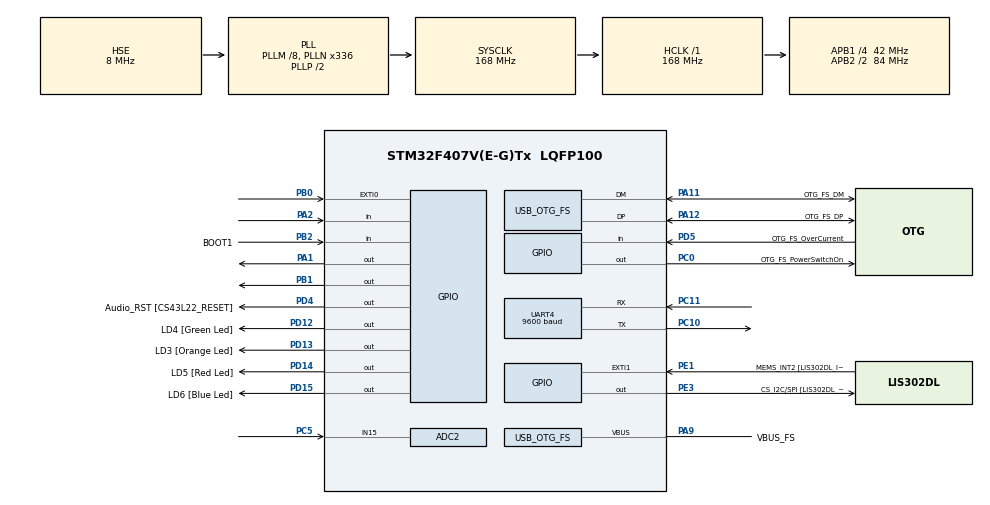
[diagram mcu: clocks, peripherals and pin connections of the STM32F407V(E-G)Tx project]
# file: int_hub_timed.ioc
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ADC2.Channel-0\#ChannelRegularConversion=ADC_CHANNEL_15
ADC2.NbrOfConversionFlag=1
ADC2.Rank-0\#ChannelRegularConversion=1
ADC2.SamplingTime-0\#ChannelRegularConversion=ADC_SAMPLETIME_3CYCLES
Mcu.Family=STM32F4
Mcu.Name=STM32F407V(E-G)Tx
Mcu.Package=LQFP100
NVIC.EXTI0_IRQn=true\:0\:0\:false\:false\:true\:true\:true
NVIC.OTG_FS_IRQn=true\:0\:0\:false\:false\:true\:true\:true
NVIC.PriorityGroup=NVIC_PRIORITYGROUP_0
NVIC.TIM2_IRQn=true\:0\:0\:false\:false\:true\:true\:true
NVIC.TIM3_IRQn=true\:0\:0\:false\:false\:true\:true\:true
NVIC.TIM4_IRQn=true\:0\:0\:false\:false\:true\:true\:true
PA1.Signal=GPIO_Output
PA10.GPIO_Label=OTG_FS_ID
PA10.GPIO_Mode=GPIO_MODE_AF_PP
PA10.GPIO_PuPd=GPIO_NOPULL
PA10.GPIO_Speed=GPIO_SPEED_FREQ_LOW
PA10.Signal=USB_OTG_FS_ID
PA11.GPIO_Label=OTG_FS_DM
PA11.GPIO_Mode=GPIO_MODE_AF_PP
PA11.GPIO_PuPd=GPIO_NOPULL
PA11.GPIO_Speed=GPIO_SPEED_FREQ_LOW
PA11.Mode=Host_Only
PA11.Signal=USB_OTG_FS_DM
PA12.GPIO_Label=OTG_FS_DP
PA12.GPIO_Mode=GPIO_MODE_AF_PP
PA12.GPIO_PuPd=GPIO_NOPULL
PA12.GPIO_Speed=GPIO_SPEED_FREQ_LOW
PA12.Mode=Host_Only
PA12.Signal=USB_OTG_FS_DP
PA13.GPIO_Label=SWDIO
PA13.Mode=Serial_Wire
PA13.Signal=SYS_JTMS-SWDIO
PA14.GPIO_Label=SWCLK
PA14.Mode=Serial_Wire
PA14.Signal=SYS_JTCK-SWCLK
PA2.Signal=GPIO_Input
PA9.GPIO_Label=VBUS_FS
PA9.GPIO_Mode=GPIO_MODE_INPUT
PA9.GPIO_PuPd=GPIO_NOPULL
PA9.Mode=Activate_VBUS
PA9.Signal=USB_OTG_FS_VBUS
PB0.Signal=GPXTI0
PB1.Signal=GPIO_Output
PB2.GPIO_Label=BOOT1
PB2.GPIO_Mode=GPIO_MODE_INPUT
PB2.GPIO_PuPd=GPIO_NOPULL
PB2.Signal=GPIO_Input
PC0.GPIO_Label=OTG_FS_PowerSwitchOn
PC0.GPIO_PuPd=GPIO_NOPULL
PC0.GPIO_Speed=GPIO_SPEED_FREQ_LOW
PC0.PinState=GPIO_PIN_SET
PC0.Signal=GPIO_Output
PC10.Mode=Asynchronous
PC10.Signal=UART4_TX
PC11.Mode=Asynchronous
PC11.Signal=UART4_RX
PC14-OSC32_IN.GPIO_Label=PC14-OSC32_IN
PC14-OSC32_IN.Mode=LSE-External-Oscillator
PC14-OSC32_IN.Signal=RCC_OSC32_IN
PC15-OSC32_OUT.GPIO_Label=PC15-OSC32_OUT
PC15-OSC32_OUT.Mode=LSE-External-Oscillator
PC15-OSC32_OUT.Signal=RCC_OSC32_OUT
PC5.Signal=SharedAnalog_PC5
PD12.GPIO_Label=LD4 [Green Led]
PD12.GPIO_PuPd=GPIO_NOPULL
PD12.GPIO_Speed=GPIO_SPEED_FREQ_LOW
PD12.Signal=GPIO_Output
PD13.GPIO_Label=LD3 [Orange Led]
PD13.GPIO_PuPd=GPIO_NOPULL
PD13.GPIO_Speed=GPIO_SPEED_FREQ_LOW
PD13.Signal=GPIO_Output
PD14.GPIO_Label=LD5 [Red Led]
PD14.GPIO_PuPd=GPIO_NOPULL
PD14.GPIO_Speed=GPIO_SPEED_FREQ_LOW
PD14.Signal=GPIO_Output
PD15.GPIO_Label=LD6 [Blue Led]
PD15.GPIO_PuPd=GPIO_NOPULL
PD15.GPIO_Speed=GPIO_SPEED_FREQ_LOW
PD15.Signal=GPIO_Output
PD4.GPIO_Label=Audio_RST [CS43L22_RESET]
PD4.GPIO_PuPd=GPIO_NOPULL
PD4.GPIO_Speed=GPIO_SPEED_FREQ_LOW
PD4.Signal=GPIO_Output
PD5.GPIO_Label=OTG_FS_OverCurrent
PD5.GPIO_Mode=GPIO_MODE_INPUT
PD5.GPIO_PuPd=GPIO_NOPULL
PD5.Signal=GPIO_Input
PE1.GPIO_Label=MEMS_INT2 [LIS302DL_INT2]
PE1.GPIO_ModeDefaultEXTI=GPIO_MODE_EVT_RISING
PE1.GPIO_PuPd=GPIO_NOPULL
PE1.Signal=GPXTI1
PE3.GPIO_Label=CS_I2C/SPI [LIS302DL_CS_I2C/SPI]
PE3.GPIO_PuPd=GPIO_NOPULL
PE3.GPIO_Speed=GPIO_SPEED_FREQ_LOW
PE3.Signal=GPIO_Output
PH0-OSC_IN.GPIO_Label=PH0-OSC_IN
PH0-OSC_IN.Mode=HSE-External-Oscillator
PH0-OSC_IN.Signal=RCC_OSC_IN
PH1-OSC_OUT.GPIO_Label=PH1-OSC_OUT
PH1-OSC_OUT.Mode=HSE-External-Oscillator
PH1-OSC_OUT.Signal=RCC_OSC_OUT
ProjectManager.HeapSize=0x200
ProjectManager.StackSize=0x400
ProjectManager.TargetToolchain=Makefile
RCC.48MHZClocksFreq_Value=48000000
RCC.AHBFreq_Value=168000000
RCC.APB1CLKDivider=RCC_HCLK_DIV4
RCC.APB1Freq_Value=42000000
RCC.APB1TimFreq_Value=84000000
RCC.APB2CLKDivider=RCC_HCLK_DIV2
RCC.APB2Freq_Value=84000000
RCC.APB2TimFreq_Value=168000000
RCC.CortexFreq_Value=168000000
RCC.HCLKFreq_Value=168000000
RCC.HSE_VALUE=8000000
RCC.HSI_VALUE=16000000
RCC.PLLM=8
RCC.PLLN=336
RCC.PLLQ=7
RCC.SYSCLKFreq_VALUE=168000000
RCC.SYSCLKSource=RCC_SYSCLKSOURCE_PLLCLK
RCC.VCOOutputFreq_Value=336000000
SH.SharedAnalog_PC5.0=GPIO_Analog
SH.SharedAnalog_PC5.1=ADC2_IN15,IN15
TIM2.AutoReloadPreload=TIM_AUTORELOAD_PRELOAD_ENABLE
TIM2.Period=4000-1
TIM2.Prescaler=42000-1
TIM3.AutoReloadPreload=TIM_AUTORELOAD_PRELOAD_ENABLE
TIM3.Period=2000-1
TIM3.Prescaler=42000-1
TIM4.AutoReloadPreload=TIM_AUTORELOAD_PRELOAD_ENABLE
TIM4.Period=2000-1
TIM4.Prescaler=42000-1
UART4.BaudRate=9600
UART4.VirtualMode=Asynchronous
USB_HOST.BSP.number=1
USB_HOST.USBH_HandleTypeDef-CDC_FS=hUsbHostFS
USB_HOST.VirtualModeFS=Cdc
USB_HOST0.BSP.STBoard=false
USB_HOST0.BSP.api=Unknown
USB_HOST0.BSP.i2caddr=0
USB_HOST0.BSP.i2creg=0
USB_HOST0.BSP.instance=PC0
USB_HOST0.BSP.ip=GPIO
USB_HOST0.BSP.mode=Output
USB_HOST0.BSP.name=Drive_VBUS_FS
USB_HOST0.BSP.solution=PC0
USB_OTG_FS.VirtualMode=Host_Only
USB_OTG_FS.phy_itface=HCD_PHY_EMBEDDED
VP_RTC_VS_RTC_Activate.Mode=RTC_Enabled
VP_TIM2_VS_ClockSourceINT.Mode=Internal
VP_TIM3_VS_ClockSourceINT.Mode=Internal
VP_TIM4_VS_ClockSourceINT.Mode=Internal
VP_USB_HOST_VS_USB_HOST_CDC_FS.Mode=CDC_FS
board=STM32F407G-DISC1

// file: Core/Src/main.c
/* USER CODE BEGIN Header */
/**
  ******************************************************************************
  * @file           : main.c
  * @brief          : Main program body
  * @author         : Morgan McCandless
  ******************************************************************************
  * @attention
  *
  * <h2><center>&copy; Copyright (c) 2021 STMicroelectronics.
  * All rights reserved.</center></h2>
  *
  * This software component is licensed by ST under Ultimate Liberty license
  * SLA0044, the "License"; You may not use this file except in compliance with
  * the License. You may obtain a copy of the License at:
  *                             www.st.com/SLA0044
  *
  ******************************************************************************
  */
/* USER CODE END Header */
#include "main.h"
#include "usb_host.h"

/* USER CODE BEGIN Includes */
#include <stdio.h>
#include <string.h>

/* USER CODE END Includes */

ADC_HandleTypeDef hadc2;

RTC_HandleTypeDef hrtc;

TIM_HandleTypeDef htim2;
TIM_HandleTypeDef htim3;
TIM_HandleTypeDef htim4;

UART_HandleTypeDef huart4;

/* USER CODE BEGIN PV */
uint16_t envelope;
uint8_t envelope_array[50];

/* USER CODE END PV */

void SystemClock_Config(void);
static void MX_GPIO_Init(void);
static void MX_ADC2_Init(void);
static void MX_RTC_Init(void);
static void MX_TIM2_Init(void);
static void MX_TIM3_Init(void);
static void MX_TIM4_Init(void);
static void MX_UART4_Init(void);
void MX_USB_HOST_Process(void);

int main(void)
{

  /* MCU Configuration--------------------------------------------------------*/

  /* Reset of all peripherals, Initializes the Flash interface and the Systick. */
  HAL_Init();

  /* Configure the system clock */
  SystemClock_Config();

  /* Initialize all configured peripherals */
  MX_GPIO_Init();
  MX_ADC2_Init();
  MX_RTC_Init();
  MX_TIM2_Init();
  MX_TIM3_Init();
  MX_TIM4_Init();
  MX_UART4_Init();
  MX_USB_HOST_Init();
  /* USER CODE BEGIN 2 */
  int released = 0;
  HAL_TIM_Base_Start_IT(&htim3);
  HAL_TIM_Base_Start_IT(&htim4);

  /* USER CODE END 2 */

  /* Infinite loop */
  while (1)
  {
    MX_USB_HOST_Process();

    /* USER CODE BEGIN 3 */
    // Door sensor
    if (!HAL_GPIO_ReadPin(GPIOA, GPIO_PIN_2) && !released) {
	    released = 1;
	    HAL_TIM_Base_Start_IT(&htim2);
    } else if (HAL_GPIO_ReadPin(GPIOA, GPIO_PIN_2) && released) {
	    HAL_TIM_Base_Stop_IT(&htim2);
	    TIM2->CNT = 0;
	    released = 0;
	    HAL_GPIO_WritePin(GPIOA, GPIO_PIN_1, GPIO_PIN_RESET);
    }

    // sound sensor
    if (!HAL_GPIO_ReadPin(GPIOB, GPIO_PIN_0)) {
	    HAL_GPIO_WritePin(GPIOB, GPIO_PIN_1, GPIO_PIN_RESET);
    }
    sprintf(envelope_array, "%d", envelope);

  }
  /* USER CODE END 3 */
}

void SystemClock_Config(void)
{
  RCC_OscInitTypeDef RCC_OscInitStruct = {0};
  RCC_ClkInitTypeDef RCC_ClkInitStruct = {0};
  RCC_PeriphCLKInitTypeDef PeriphClkInitStruct = {0};

  /** Configure the main internal regulator output voltage
  */
  __HAL_RCC_PWR_CLK_ENABLE();
  __HAL_PWR_VOLTAGESCALING_CONFIG(PWR_REGULATOR_VOLTAGE_SCALE1);
  /** Initializes the RCC Oscillators according to the specified parameters
  * in the RCC_OscInitTypeDef structure.
  */
  RCC_OscInitStruct.OscillatorType = RCC_OSCILLATORTYPE_LSI|RCC_OSCILLATORTYPE_HSE;
  RCC_OscInitStruct.HSEState = RCC_HSE_ON;
  RCC_OscInitStruct.LSIState = RCC_LSI_ON;
  RCC_OscInitStruct.PLL.PLLState = RCC_PLL_ON;
  RCC_OscInitStruct.PLL.PLLSource = RCC_PLLSOURCE_HSE;
  RCC_OscInitStruct.PLL.PLLM = 8;
  RCC_OscInitStruct.PLL.PLLN = 336;
  RCC_OscInitStruct.PLL.PLLP = RCC_PLLP_DIV2;
  RCC_OscInitStruct.PLL.PLLQ = 7;
  if (HAL_RCC_OscConfig(&RCC_OscInitStruct) != HAL_OK)
  {
    Error_Handler();
  }
  /** Initializes the CPU, AHB and APB buses clocks
  */
  RCC_ClkInitStruct.ClockType = RCC_CLOCKTYPE_HCLK|RCC_CLOCKTYPE_SYSCLK
                              |RCC_CLOCKTYPE_PCLK1|RCC_CLOCKTYPE_PCLK2;
  RCC_ClkInitStruct.SYSCLKSource = RCC_SYSCLKSOURCE_PLLCLK;
  RCC_ClkInitStruct.AHBCLKDivider = RCC_SYSCLK_DIV1;
  RCC_ClkInitStruct.APB1CLKDivider = RCC_HCLK_DIV4;
  RCC_ClkInitStruct.APB2CLKDivider = RCC_HCLK_DIV2;

  if (HAL_RCC_ClockConfig(&RCC_ClkInitStruct, FLASH_LATENCY_5) != HAL_OK)
  {
    Error_Handler();
  }
  PeriphClkInitStruct.PeriphClockSelection = RCC_PERIPHCLK_RTC;
  PeriphClkInitStruct.RTCClockSelection = RCC_RTCCLKSOURCE_LSI;
  if (HAL_RCCEx_PeriphCLKConfig(&PeriphClkInitStruct) != HAL_OK)
  {
    Error_Handler();
  }
}

static void MX_ADC2_Init(void)
{

  ADC_ChannelConfTypeDef sConfig = {0};

  /** Configure the global features of the ADC (Clock, Resolution, Data Alignment and number of conversion)
  */
  hadc2.Instance = ADC2;
  hadc2.Init.ClockPrescaler = ADC_CLOCK_SYNC_PCLK_DIV4;
  hadc2.Init.Resolution = ADC_RESOLUTION_12B;
  hadc2.Init.ScanConvMode = DISABLE;
  hadc2.Init.ContinuousConvMode = DISABLE;
  hadc2.Init.DiscontinuousConvMode = DISABLE;
  hadc2.Init.ExternalTrigConvEdge = ADC_EXTERNALTRIGCONVEDGE_NONE;
  hadc2.Init.ExternalTrigConv = ADC_SOFTWARE_START;
  hadc2.Init.DataAlign = ADC_DATAALIGN_RIGHT;
  hadc2.Init.NbrOfConversion = 1;
  hadc2.Init.DMAContinuousRequests = DISABLE;
  hadc2.Init.EOCSelection = ADC_EOC_SINGLE_CONV;
  if (HAL_ADC_Init(&hadc2) != HAL_OK)
  {
    Error_Handler();
  }
  /** Configure for the selected ADC regular channel its corresponding rank in the sequencer and its sample time.
  */
  sConfig.Channel = ADC_CHANNEL_15;
  sConfig.Rank = 1;
  sConfig.SamplingTime = ADC_SAMPLETIME_3CYCLES;
  if (HAL_ADC_ConfigChannel(&hadc2, &sConfig) != HAL_OK)
  {
    Error_Handler();
  }

}

static void MX_RTC_Init(void)
{

  /** Initialize RTC Only
  */
  hrtc.Instance = RTC;
  hrtc.Init.HourFormat = RTC_HOURFORMAT_24;
  hrtc.Init.AsynchPrediv = 127;
  hrtc.Init.SynchPrediv = 255;
  hrtc.Init.OutPut = RTC_OUTPUT_DISABLE;
  hrtc.Init.OutPutPolarity = RTC_OUTPUT_POLARITY_HIGH;
  hrtc.Init.OutPutType = RTC_OUTPUT_TYPE_OPENDRAIN;
  if (HAL_RTC_Init(&hrtc) != HAL_OK)
  {
    Error_Handler();
  }

}

static void MX_TIM2_Init(void)
{

  TIM_ClockConfigTypeDef sClockSourceConfig = {0};
  TIM_MasterConfigTypeDef sMasterConfig = {0};

  htim2.Instance = TIM2;
  htim2.Init.Prescaler = 42000-1;
  htim2.Init.CounterMode = TIM_COUNTERMODE_UP;
  htim2.Init.Period = 4000-1;
  htim2.Init.ClockDivision = TIM_CLOCKDIVISION_DIV1;
  htim2.Init.AutoReloadPreload = TIM_AUTORELOAD_PRELOAD_ENABLE;
  if (HAL_TIM_Base_Init(&htim2) != HAL_OK)
  {
    Error_Handler();
  }
  sClockSourceConfig.ClockSource = TIM_CLOCKSOURCE_INTERNAL;
  if (HAL_TIM_ConfigClockSource(&htim2, &sClockSourceConfig) != HAL_OK)
  {
    Error_Handler();
  }
  sMasterConfig.MasterOutputTrigger = TIM_TRGO_RESET;
  sMasterConfig.MasterSlaveMode = TIM_MASTERSLAVEMODE_DISABLE;
  if (HAL_TIMEx_MasterConfigSynchronization(&htim2, &sMasterConfig) != HAL_OK)
  {
    Error_Handler();
  }

}

static void MX_TIM3_Init(void)
{

  TIM_ClockConfigTypeDef sClockSourceConfig = {0};
  TIM_MasterConfigTypeDef sMasterConfig = {0};

  htim3.Instance = TIM3;
  htim3.Init.Prescaler = 42000-1;
  htim3.Init.CounterMode = TIM_COUNTERMODE_UP;
  htim3.Init.Period = 2000-1;
  htim3.Init.ClockDivision = TIM_CLOCKDIVISION_DIV1;
  htim3.Init.AutoReloadPreload = TIM_AUTORELOAD_PRELOAD_ENABLE;
  if (HAL_TIM_Base_Init(&htim3) != HAL_OK)
  {
    Error_Handler();
  }
  sClockSourceConfig.ClockSource = TIM_CLOCKSOURCE_INTERNAL;
  if (HAL_TIM_ConfigClockSource(&htim3, &sClockSourceConfig) != HAL_OK)
  {
    Error_Handler();
  }
  sMasterConfig.MasterOutputTrigger = TIM_TRGO_RESET;
  sMasterConfig.MasterSlaveMode = TIM_MASTERSLAVEMODE_DISABLE;
  if (HAL_TIMEx_MasterConfigSynchronization(&htim3, &sMasterConfig) != HAL_OK)
  {
    Error_Handler();
  }

}

static void MX_TIM4_Init(void)
{

  TIM_ClockConfigTypeDef sClockSourceConfig = {0};
  TIM_MasterConfigTypeDef sMasterConfig = {0};

  htim4.Instance = TIM4;
  htim4.Init.Prescaler = 42000-1;
  htim4.Init.CounterMode = TIM_COUNTERMODE_UP;
  htim4.Init.Period = 2000-1;
  htim4.Init.ClockDivision = TIM_CLOCKDIVISION_DIV1;
  htim4.Init.AutoReloadPreload = TIM_AUTORELOAD_PRELOAD_ENABLE;
  if (HAL_TIM_Base_Init(&htim4) != HAL_OK)
  {
    Error_Handler();
  }
  sClockSourceConfig.ClockSource = TIM_CLOCKSOURCE_INTERNAL;
  if (HAL_TIM_ConfigClockSource(&htim4, &sClockSourceConfig) != HAL_OK)
  {
    Error_Handler();
  }
  sMasterConfig.MasterOutputTrigger = TIM_TRGO_RESET;
  sMasterConfig.MasterSlaveMode = TIM_MASTERSLAVEMODE_DISABLE;
  if (HAL_TIMEx_MasterConfigSynchronization(&htim4, &sMasterConfig) != HAL_OK)
  {
    Error_Handler();
  }

}

static void MX_UART4_Init(void)
{

  huart4.Instance = UART4;
  huart4.Init.BaudRate = 9600;
  huart4.Init.WordLength = UART_WORDLENGTH_8B;
  huart4.Init.StopBits = UART_STOPBITS_1;
  huart4.Init.Parity = UART_PARITY_NONE;
  huart4.Init.Mode = UART_MODE_TX_RX;
  huart4.Init.HwFlowCtl = UART_HWCONTROL_NONE;
  huart4.Init.OverSampling = UART_OVERSAMPLING_16;
  if (HAL_UART_Init(&huart4) != HAL_OK)
  {
    Error_Handler();
  }

}

static void MX_GPIO_Init(void)
{
  GPIO_InitTypeDef GPIO_InitStruct = {0};

  /* GPIO Ports Clock Enable */
  __HAL_RCC_GPIOE_CLK_ENABLE();
  __HAL_RCC_GPIOC_CLK_ENABLE();
  __HAL_RCC_GPIOH_CLK_ENABLE();
  __HAL_RCC_GPIOA_CLK_ENABLE();
  __HAL_RCC_GPIOB_CLK_ENABLE();
  __HAL_RCC_GPIOD_CLK_ENABLE();

  /*Configure GPIO pin Output Level */
  HAL_GPIO_WritePin(CS_I2C_SPI_GPIO_Port, CS_I2C_SPI_Pin, GPIO_PIN_RESET);

  /*Configure GPIO pin Output Level */
  HAL_GPIO_WritePin(OTG_FS_PowerSwitchOn_GPIO_Port, OTG_FS_PowerSwitchOn_Pin, GPIO_PIN_SET);

  /*Configure GPIO pin Output Level */
  HAL_GPIO_WritePin(GPIOA, GPIO_PIN_1, GPIO_PIN_RESET);

  /*Configure GPIO pin Output Level */
  HAL_GPIO_WritePin(GPIOB, GPIO_PIN_1, GPIO_PIN_RESET);

  /*Configure GPIO pin Output Level */
  HAL_GPIO_WritePin(GPIOD, LD4_Pin|LD3_Pin|LD5_Pin|LD6_Pin
                          |Audio_RST_Pin, GPIO_PIN_RESET);

  /*Configure GPIO pin : CS_I2C_SPI_Pin */
  GPIO_InitStruct.Pin = CS_I2C_SPI_Pin;
  GPIO_InitStruct.Mode = GPIO_MODE_OUTPUT_PP;
  GPIO_InitStruct.Pull = GPIO_NOPULL;
  GPIO_InitStruct.Speed = GPIO_SPEED_FREQ_LOW;
  HAL_GPIO_Init(CS_I2C_SPI_GPIO_Port, &GPIO_InitStruct);

  /*Configure GPIO pin : OTG_FS_PowerSwitchOn_Pin */
  GPIO_InitStruct.Pin = OTG_FS_PowerSwitchOn_Pin;
  GPIO_InitStruct.Mode = GPIO_MODE_OUTPUT_PP;
  GPIO_InitStruct.Pull = GPIO_NOPULL;
  GPIO_InitStruct.Speed = GPIO_SPEED_FREQ_LOW;
  HAL_GPIO_Init(OTG_FS_PowerSwitchOn_GPIO_Port, &GPIO_InitStruct);

  /*Configure GPIO pin : PA1 */
  GPIO_InitStruct.Pin = GPIO_PIN_1;
  GPIO_InitStruct.Mode = GPIO_MODE_OUTPUT_PP;
  GPIO_InitStruct.Pull = GPIO_NOPULL;
  GPIO_InitStruct.Speed = GPIO_SPEED_FREQ_LOW;
  HAL_GPIO_Init(GPIOA, &GPIO_InitStruct);

  /*Configure GPIO pin : PA2 */
  GPIO_InitStruct.Pin = GPIO_PIN_2;
  GPIO_InitStruct.Mode = GPIO_MODE_INPUT;
  GPIO_InitStruct.Pull = GPIO_NOPULL;
  HAL_GPIO_Init(GPIOA, &GPIO_InitStruct);

  /*Configure GPIO pin : PB0 */
  GPIO_InitStruct.Pin = GPIO_PIN_0;
  GPIO_InitStruct.Mode = GPIO_MODE_IT_RISING;
  GPIO_InitStruct.Pull = GPIO_NOPULL;
  HAL_GPIO_Init(GPIOB, &GPIO_InitStruct);

  /*Configure GPIO pin : PB1 */
  GPIO_InitStruct.Pin = GPIO_PIN_1;
  GPIO_InitStruct.Mode = GPIO_MODE_OUTPUT_PP;
  GPIO_InitStruct.Pull = GPIO_NOPULL;
  GPIO_InitStruct.Speed = GPIO_SPEED_FREQ_LOW;
  HAL_GPIO_Init(GPIOB, &GPIO_InitStruct);

  /*Configure GPIO pin : BOOT1_Pin */
  GPIO_InitStruct.Pin = BOOT1_Pin;
  GPIO_InitStruct.Mode = GPIO_MODE_INPUT;
  GPIO_InitStruct.Pull = GPIO_NOPULL;
  HAL_GPIO_Init(BOOT1_GPIO_Port, &GPIO_InitStruct);

  /*Configure GPIO pins : LD4_Pin LD3_Pin LD5_Pin LD6_Pin
                           Audio_RST_Pin */
  GPIO_InitStruct.Pin = LD4_Pin|LD3_Pin|LD5_Pin|LD6_Pin
                          |Audio_RST_Pin;
  GPIO_InitStruct.Mode = GPIO_MODE_OUTPUT_PP;
  GPIO_InitStruct.Pull = GPIO_NOPULL;
  GPIO_InitStruct.Speed = GPIO_SPEED_FREQ_LOW;
  HAL_GPIO_Init(GPIOD, &GPIO_InitStruct);

  /*Configure GPIO pin : OTG_FS_OverCurrent_Pin */
  GPIO_InitStruct.Pin = OTG_FS_OverCurrent_Pin;
  GPIO_InitStruct.Mode = GPIO_MODE_INPUT;
  GPIO_InitStruct.Pull = GPIO_NOPULL;
  HAL_GPIO_Init(OTG_FS_OverCurrent_GPIO_Port, &GPIO_InitStruct);

  /*Configure GPIO pin : MEMS_INT2_Pin */
  GPIO_InitStruct.Pin = MEMS_INT2_Pin;
  GPIO_InitStruct.Mode = GPIO_MODE_EVT_RISING;
  GPIO_InitStruct.Pull = GPIO_NOPULL;
  HAL_GPIO_Init(MEMS_INT2_GPIO_Port, &GPIO_InitStruct);

  /* EXTI interrupt init*/
  HAL_NVIC_SetPriority(EXTI0_IRQn, 0, 0);
  HAL_NVIC_EnableIRQ(EXTI0_IRQn);

}

void Error_Handler(void)
{
  __disable_irq();
  while (1)
  {
  }
}

/************************ (C) COPYRIGHT STMicroelectronics *****END OF FILE****/
